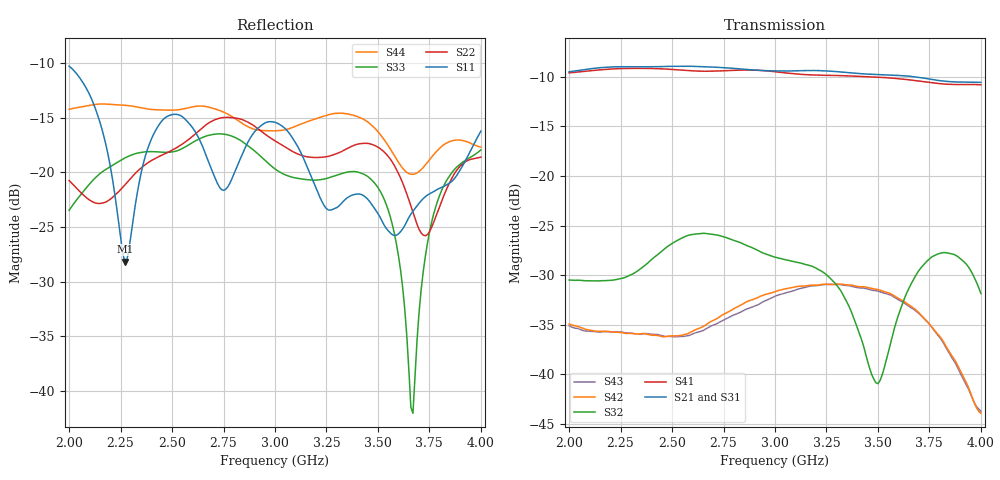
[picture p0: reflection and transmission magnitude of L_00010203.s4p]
!Agilent Technologies,N5224A,MY51441093,A.09.90.21
!Agilent N5224A: A.09.90.21
!Date: Friday, December 19, 2025 16:35:16
!Correction: S11(Full 4 Port(1,2,3,4))
!S12(Full 4 Port(1,2,3,4))
!S13(Full 4 Port(1,2,3,4))
!S14(Full 4 Port(1,2,3,4))
!S21(Full 4 Port(1,2,3,4))
!S22(Full 4 Port(1,2,3,4))
!S23(Full 4 Port(1,2,3,4))
!S24(Full 4 Port(1,2,3,4))
!S31(Full 4 Port(1,2,3,4))
!S32(Full 4 Port(1,2,3,4))
!S33(Full 4 Port(1,2,3,4))
!S34(Full 4 Port(1,2,3,4))
!S41(Full 4 Port(1,2,3,4))
!S42(Full 4 Port(1,2,3,4))
!S43(Full 4 Port(1,2,3,4))
!S44(Full 4 Port(1,2,3,4))
!S4P File: Measurements: <S11,S12,S13,S14>,
!<S21,S22,S23,S24>,
!<S31,S32,S33,S34>,
!<S41,S42,S43,S44>:
# Hz S  dB  R 50
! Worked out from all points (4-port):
!   201 points, 2 GHz to 4 GHz, reference 50 ohm
!   strongest paths, dB at 2 GHz, 2.5 GHz, 3 GHz, 3.5 GHz, 4 GHz:
!     S21: -9.5, -9.0, -9.4, -9.8, -10.6
!     S41: -9.6, -9.3, -9.5, -10.1, -10.8
!     S31: -9.6, -9.3, -9.7, -10.1, -11.0
!     S32: -30.5, -26.8, -28.2, -40.9, -31.8
!     S42: -34.9, -36.1, -31.7, -31.4, -43.9
!     S43: -35.1, -36.2, -32.1, -31.6, -43.7
!   lowest |S11| = -28.2 dB at 2.27 GHz (marker M1), VSWR 1.08, Z = 47.5 + j2.9 ohm
!   |S11| at or under -10 dB: start of sweep to end of sweep
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2e9  -10.29 -46.4  -9.51 -75.4  -9.51 -95.7  -9.74 -123.9
     -9.52 -75.5  -20.74 104.9  -30.42 0.6  -35.02 -10.2
     -9.57 -95.5  -30.49 0.8  -23.48 26.9  -35.26 -30.6
     -9.63 -123.6  -34.91 -10.0  -35.09 -30.4  -14.23 -3.9
2.27e9  -28.16 128.8  -9.02 143.7  -9.14 122.8  -9.32 98.0
        -9.01 143.6  -21.17 -53.1  -30.17 171.0  -35.97 74.7
        -9.20 122.9  -30.24 171.1  -18.70 -89.6  -35.98 51.7
        -9.19 98.2  -35.85 74.9  -35.79 51.7  -13.87 -92.1
2.5e9  -14.72 -59.0  -8.96 26.4  -9.20 5.7  -9.40 -19.2
       -8.97 26.3  -17.97 -130.3  -26.75 20.9  -36.23 -139.8
       -9.27 5.7  -26.82 21.1  -18.13 -153.0  -36.38 -159.0
       -9.28 -19.1  -36.11 -139.7  -36.19 -159.0  -14.31 -144.9
3.46e9  -22.67 -110.3  -9.76 -91.3  -9.96 -114.1  -10.09 -136.1
        -9.76 -91.3  -17.39 83.0  -39.32 -118.2  -31.36 117.3
        -10.05 -113.8  -39.40 -117.9  -20.53 48.3  -31.59 94.4
        -10.03 -135.9  -31.29 117.5  -31.46 94.3  -15.53 48.1
3.67e9  -23.56 -114.6  -10.00 165.1  -10.23 141.4  -10.42 119.2
        -10.01 165.1  -23.65 53.7  -30.46 -144.4  -33.31 -69.9
        -10.32 141.8  -30.53 -144.1  -42.04 87.1  -33.54 -92.1
        -10.38 119.6  -33.27 -69.5  -33.40 -92.2  -20.18 39.2
3.77e9  -21.76 -155.9  -10.31 116.0  -10.54 92.0  -10.68 70.1
        -10.32 116.1  -24.60 91.5  -27.98 156.8  -35.48 -160.7
        -10.64 92.4  -28.07 157.2  -23.86 118.7  -35.62 175.5
        -10.65 70.6  -35.43 -160.3  -35.50 175.6  -18.39 42.0
4e9  -16.23 34.4  -10.55 4.9  -10.87 -19.8  -10.86 -42.5
     -10.58 5.1  -18.61 78.1  -31.78 20.1  -43.97 -54.6
     -10.96 -19.2  -31.84 20.4  -17.95 81.1  -43.82 -81.4
     -10.82 -41.8  -43.91 -53.8  -43.69 -81.6  -17.69 16.2
